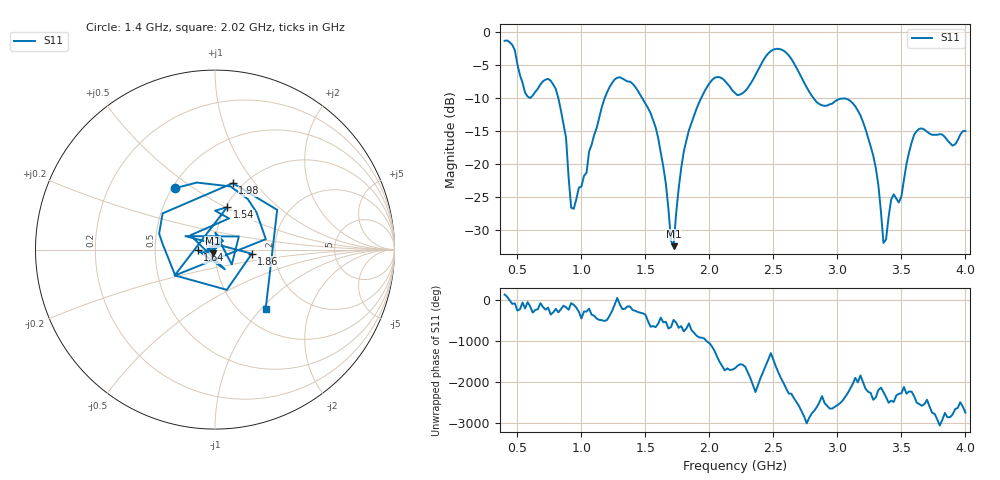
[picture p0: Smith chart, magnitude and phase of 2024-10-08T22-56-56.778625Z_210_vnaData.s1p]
! Created with skrf (http://scikit-rf.org).
# Hz S RI R 50.0
!freq ReS11 ImS11
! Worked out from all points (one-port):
!   181 points, 400 MHz to 4 GHz, reference 50 ohm
!   lowest |S11| = -32.4 dB at 1.72 GHz (marker M1), VSWR 1.05, Z = 48.8 - j2.07 ohm
!   |S11| at or under -10 dB: 820.2 MHz to 1.181 GHz (361.1 MHz wide, 36.1 % of centre); 1.476 GHz to 1.935 GHz (459.3 MHz wide, 26.9 % of centre); 2.815 GHz to end of sweep
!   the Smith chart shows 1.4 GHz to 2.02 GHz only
!   S11 on the Smith chart (normalised r, x): 1.4 GHz: 0.52, +0.42; 1.54 GHz: 1.02, +0.51; 1.64 GHz: 0.82, -0.01; 1.86 GHz: 1.51, -0.07; 1.98 GHz: 0.90, +0.78; 2.02 GHz: 1.30, -1.06
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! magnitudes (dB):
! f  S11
! 400 MHz  -1.3
! 580 MHz  -9.7
! 760 MHz  -7.3
! 860 MHz  -13.9
! 920 MHz  -26.6
! 940 MHz  -26.7
! 1.18 GHz  -10.1
! 1.3 GHz  -6.8
! 1.4 GHz  -7.8
! 1.54 GHz  -12.2
! 1.64 GHz  -20.4
! 1.72 GHz  -32.4
! 1.76 GHz  -23.6
! 1.86 GHz  -13.7
! 1.98 GHz  -8.3
! 2.02 GHz  -7.2
! 2.2 GHz  -9.2
! 2.5 GHz  -2.6
! 2.66 GHz  -4.7
! 2.86 GHz  -10.9
! 3.1 GHz  -10.4
! 3.28 GHz  -18.7
! 3.36 GHz  -31.9
! 3.42 GHz  -25.4
! 3.5 GHz  -24.9
! 3.56 GHz  -18.2
! 3.64 GHz  -14.6
! 4 GHz  -14.9
